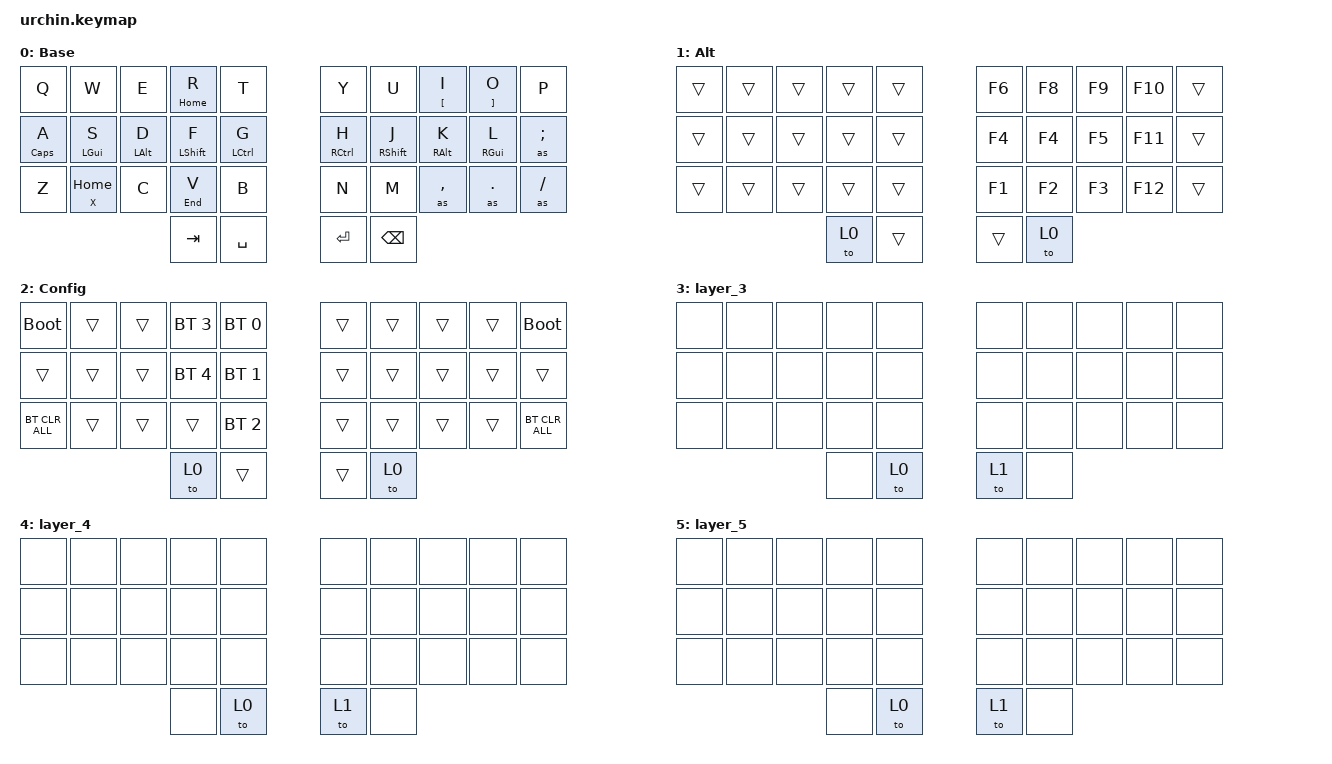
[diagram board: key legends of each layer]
/*
 * Copyright (c) 2020 duckyb
 *
 * SPDX-License-Identifier: MIT
 */

#include <behaviors.dtsi>
#include <dt-bindings/zmk/bt.h>
#include <dt-bindings/zmk/keys.h>
#include "keymap_italian.h"

// Layer definitions

#define BASE 0
#define SYM 1
#define EXT 2
#define FNC 3
#define SYM2 4
#define ACCENT 5
#define SETTINGS 6

// -----------------

&sk {
    // don't release mods on other mods presses

    ignore-modifiers;
};

/ {
    behaviors {
        // Enables holding the first mod-tap key
        // by performing a tap-release-hold sequence.
        // To use it: "&qt KEYCODE1 KEYCODE2"

        qt: quick_tap {
            compatible = "zmk,behavior-hold-tap";
            label = "QUICK_TAP";
            #binding-cells = <2>;
            flavor = "balanced";
            tapping-term-ms = <500>;
            quick-tap-ms = <175>;
            bindings = <&kp>, <&kp>;

            require-prior-idle-ms = <150>;
            hold-trigger-on-release;
        };

        Tab_Lay1: Tab_Lay1 {
            compatible = "zmk,behavior-tap-dance";
            label = "TAB_LAY1";
            #binding-cells = <0>;
            bindings = <&kp TAB>, <&mo 1>, <&tog 1>;
        };

        Del_Lay2: Del_Lay2 {
            compatible = "zmk,behavior-tap-dance";
            label = "DEL_LAY2";
            #binding-cells = <0>;
            bindings = <&kp DEL>, <&mo 2>, <&tog 2>;
        };

        Lay_Hold: Lay_Hold {
            compatible = "zmk,behavior-hold-tap";
            label = "LAY_HOLD";
            bindings = <&mo>, <&kp>;

            #binding-cells = <2>;
            tapping-term-ms = <250>;
        };

        Key_Hold: Key_Hold {
            compatible = "zmk,behavior-hold-tap";
            label = "KEY_HOLD";
            bindings = <&kp>, <&kp>;

            #binding-cells = <2>;
            tapping-term-ms = <250>;
        };

        as_ht: autoshift_hold_tap {
            compatible = "zmk,behavior-hold-tap";
            label = "AUTOSHIFT_HOLD_TAP";
            bindings = <&Shifted>, <&kp>;

            #binding-cells = <2>;
            tapping-term-ms = <250>;
        };

        kp_as_ht: keypress_to_autoshift {
            compatible = "zmk,behavior-hold-tap";
            label = "KEYPRESS_TO_AUTOSHIFT";
            bindings = <&as>, <&kp>;

            #binding-cells = <2>;
            tapping-term-ms = <250>;
        };
    };

    macros {
        // sometimes my device thinks a modifier is being held down
        // pressing all modifiers fixes it.

        unstick: unstick {
            label = "ZM_unstick";
            compatible = "zmk,behavior-macro";
            #binding-cells = <0>;
            bindings = <&kp LSHIFT &kp RSHIFT &kp LCTRL &kp RCTRL &kp LALT &kp RALT &kp LGUI &kp RGUI>;
        };

        Shifted: Shifted {
            compatible = "zmk,behavior-macro-one-param";
            #binding-cells = <1>;
            bindings =
                <&macro_press>,
                <&kp LEFT_SHIFT &macro_param_1to1>,
                <&macro_press>,
                <&kp MACRO_PLACEHOLDER>,
                <&macro_release>,
                <&kp LEFT_SHIFT>;

            label = "SHIFTED";
        };

        as: as {
            compatible = "zmk,behavior-macro-one-param";
            #binding-cells = <1>;
            bindings =
                <&macro_press>,
                <&macro_param_1to1 &macro_param_1to2 &as_ht MACRO_PLACEHOLDER MACRO_PLACEHOLDER>,
                <&macro_pause_for_release>,
                <&macro_release>,
                <&macro_param_1to1 &macro_param_1to2 &as_ht MACRO_PLACEHOLDER MACRO_PLACEHOLDER>;

            label = "AS";
        };
    };

    combos {
        compatible = "zmk,combos";

        // both right thumb keys
        // internal-left & external-right thumb keys
        // both left thumb keys
        // left index & middle fingers (home-row)
        // hold control & space for Adobe workflow

        No0 {
            bindings = <&as N0>;
            key-positions = <33 32>;
        };

        No1 {
            bindings = <&as NUMBER_1>;
            key-positions = <25 26>;
        };

        No2 {
            bindings = <&as NUMBER_2>;
            key-positions = <26 27>;
        };

        No3 {
            bindings = <&as NUMBER_3>;
            key-positions = <27 28>;
        };

        No4 {
            bindings = <&as NUMBER_4>;
            key-positions = <15 16>;
        };

        No5 {
            bindings = <&as N5>;
            key-positions = <16 17>;
        };

        No6 {
            bindings = <&as NUMBER_6>;
            key-positions = <17 18>;
        };

        No7 {
            bindings = <&as N7>;
            key-positions = <5 6>;
        };

        No8 {
            bindings = <&as N8>;
            key-positions = <6 7>;
        };

        No9 {
            bindings = <&as N9>;
            key-positions = <7 8>;
        };

        Backspace {
            bindings = <&kp BACKSPACE>;
            key-positions = <8 9>;
        };

        up {
            bindings = <&kp UP_ARROW>;
            key-positions = <1 3>;
        };

        down {
            bindings = <&kp DOWN>;
            key-positions = <11 13>;
        };

        left {
            bindings = <&kp LEFT_ARROW>;
            key-positions = <12 11>;
        };

        right {
            bindings = <&kp RIGHT>;
            key-positions = <12 13>;
        };

        dash {
            bindings = <&as MINUS>;
            key-positions = <19 18>;
        };

        copy {
            bindings = <&kp LC(C)>;
            key-positions = <22 21>;
        };

        paste {
            bindings = <&kp LC(P)>;
            key-positions = <23 22>;
        };

        all {
            bindings = <&kp LC(A)>;
            key-positions = <11 10>;
        };

        paste_clip {
            bindings = <&kp LG(P)>;
            key-positions = <24 23>;
        };

        cut {
            bindings = <&kp LC(X)>;
            key-positions = <20 21>;
        };

        lock {
            bindings = <&kp LG(L)>;
            key-positions = <29 19>;
        };

        pg_up {
            bindings = <&kp PAGE_UP>;
            key-positions = <2 4>;
        };

        pg_dn {
            bindings = <&kp PAGE_DOWN>;
            key-positions = <24 22>;
        };

        UnSitck1 {
            bindings = <&sys_reset>;
            key-positions = <27 26 29 28>;
        };

        Unstick2 {
            bindings = <&sys_reset>;
            key-positions = <22 23 20 21>;
        };

        Layer2 {
            bindings = <&to 2>;
            key-positions = <31 32>;
        };
    };

    keymap {
        compatible = "zmk,keymap";

        // Base alpha layer

        Base {
            label = "Base";
            bindings = <
&kp Q       &kp W           &kp E           &qt HOME R        &kp T        &kp Y        &kp U              &kp_as_ht LEFT_BRACKET I  &kp_as_ht RIGHT_BRACKET O  &kp P
&qt CAPS A  &qt LEFT_GUI S  &qt LEFT_ALT D  &qt LEFT_SHIFT F  &qt LCTRL G  &qt RCTRL H  &qt RIGHT_SHIFT J  &qt RIGHT_ALT K           &qt RIGHT_GUI L            &as SEMI
&kp Z       &qt X HOME      &kp C           &qt END V         &kp B        &kp N        &kp M              &as COMMA                 &as DOT                    &as SLASH
                                            &kp TAB           &kp SPACE    &kp ENTER    &kp BACKSPACE
            >;
        };

        // Numbers and high frequency symbols
        // Main modifiers and arrow keys
        // Function keys with modifiers
        // Low frequency symbols.
        // Used to type regional accents.
        // Used to change the keyboard's settings.

        Alt {
            bindings = <
&trans  &trans  &trans  &trans  &trans  &kp F6  &kp F8  &kp F9  &kp F10  &trans
&trans  &trans  &trans  &trans  &trans  &kp F4  &kp F4  &kp F5  &kp F11  &trans
&trans  &trans  &trans  &trans  &trans  &kp F1  &kp F2  &kp F3  &kp F12  &trans
                        &to 0   &trans  &trans  &to 0
            >;

            label = "Alt";
        };

        Config {
            bindings = <
&bootloader     &trans  &trans  &bt BT_SEL 3  &bt BT_SEL 0  &trans  &trans  &trans  &trans  &bootloader
&trans          &trans  &trans  &bt BT_SEL 4  &bt BT_SEL 1  &trans  &trans  &trans  &trans  &trans
&bt BT_CLR_ALL  &trans  &trans  &trans        &bt BT_SEL 2  &trans  &trans  &trans  &trans  &bt BT_CLR_ALL
                                &to 0         &trans        &trans  &to 0
            >;

            label = "Config";
        };

        layer_3 {
            bindings = <
&none  &none  &none  &none  &none  &none  &none  &none  &none  &none
&none  &none  &none  &none  &none  &none  &none  &none  &none  &none
&none  &none  &none  &none  &none  &none  &none  &none  &none  &none
                     &none  &to 0  &to 1  &none
            >;
        };

        layer_4 {
            bindings = <
&none  &none  &none  &none  &none  &none  &none  &none  &none  &none
&none  &none  &none  &none  &none  &none  &none  &none  &none  &none
&none  &none  &none  &none  &none  &none  &none  &none  &none  &none
                     &none  &to 0  &to 1  &none
            >;
        };

        layer_5 {
            bindings = <
&none  &none  &none  &none  &none  &none  &none  &none  &none  &none
&none  &none  &none  &none  &none  &none  &none  &none  &none  &none
&none  &none  &none  &none  &none  &none  &none  &none  &none  &none
                     &none  &to 0  &to 1  &none
            >;
        };
    };
};
